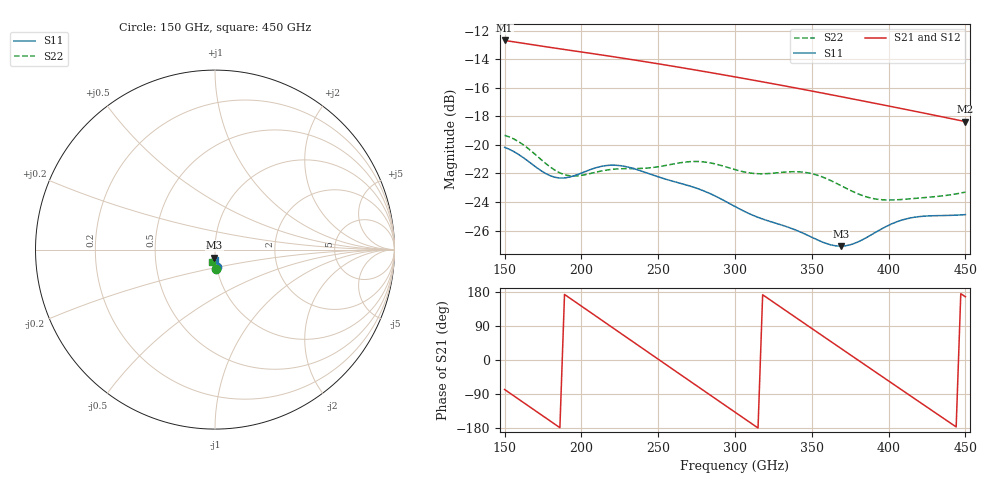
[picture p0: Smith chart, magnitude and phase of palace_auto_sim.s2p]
#  GHZ S DB R 50
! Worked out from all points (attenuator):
!   101 points, 150 GHz to 450 GHz, reference 50 ohm
!   highest |S21| = -12.67 dB at 150 GHz (marker M1); lowest = -18.4 dB at 450 GHz (marker M2)
!   lowest |S11| = -27.1 dB at 369 GHz (marker M3), VSWR 1.09, Z = 49.5 - j4.37 ohm
!   |S11| at or under -10 dB: start of sweep to end of sweep
!   |S22| runs from -23.9 to -19.3 dB; largest |S21 - S12| = 1.8e-13
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150  -20.17 -83.8  -12.67 -77.9  -12.67 -77.9  -19.33 -85.8
162  -20.88 -86.9  -12.87 -111.5  -12.87 -111.5  -19.98 -90.5
177  -22.02 -86.0  -13.12 -153.4  -13.12 -153.4  -21.32 -92.2
189  -22.31 -82.0  -13.31 173.0  -13.31 173.0  -22.08 -88.7
201  -21.93 -80.3  -13.50 139.4  -13.50 139.4  -22.11 -84.9
213  -21.50 -82.9  -13.69 105.8  -13.69 105.8  -21.83 -84.1
225  -21.45 -87.7  -13.88 72.1  -13.88 72.1  -21.67 -85.4
240  -21.86 -93.1  -14.14 30.1  -14.14 30.1  -21.64 -86.8
252  -22.30 -95.8  -14.35 -3.5  -14.35 -3.5  -21.49 -87.7
264  -22.68 -98.1  -14.56 -37.1  -14.56 -37.1  -21.25 -89.9
276  -23.07 -100.7  -14.78 -70.6  -14.78 -70.6  -21.16 -93.7
288  -23.63 -103.3  -15.00 -104.1  -15.00 -104.1  -21.35 -97.5
300  -24.31 -104.5  -15.23 -137.6  -15.23 -137.6  -21.73 -99.8
321  -25.30 -103.4  -15.64 163.8  -15.64 163.8  -22.01 -100.5
336  -25.82 -102.7  -15.93 122.1  -15.93 122.1  -21.88 -102.8
351  -26.52 -101.0  -16.24 80.4  -16.24 80.4  -22.04 -107.3
369  -27.10 -93.8  -16.61 30.5  -16.61 30.5  -22.85 -111.0
384  -26.59 -87.4  -16.93 -11.0  -16.93 -11.0  -23.58 -109.9
402  -25.53 -86.4  -17.31 -60.8  -17.31 -60.8  -23.86 -106.2
423  -24.99 -90.1  -17.77 -118.8  -17.77 -118.8  -23.69 -103.9
438  -24.94 -91.8  -18.10 -160.1  -18.10 -160.1  -23.53 -102.8
450  -24.88 -92.5  -18.36 166.8  -18.36 166.8  -23.30 -102.1
